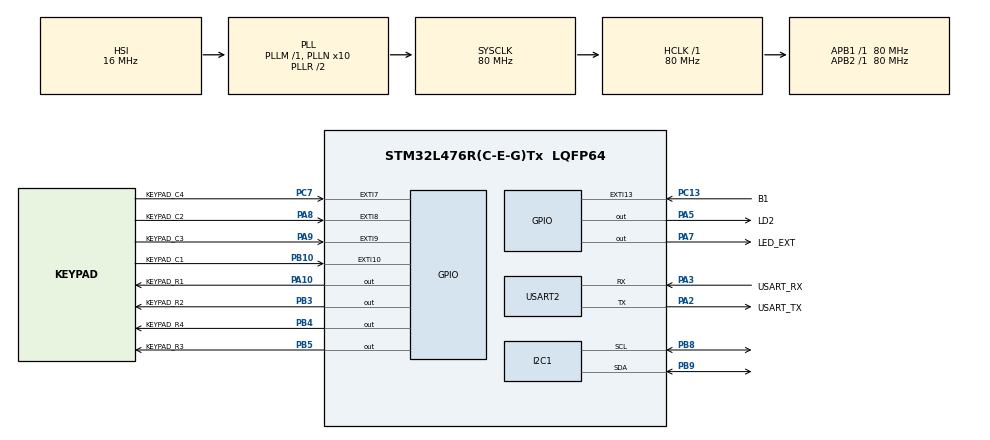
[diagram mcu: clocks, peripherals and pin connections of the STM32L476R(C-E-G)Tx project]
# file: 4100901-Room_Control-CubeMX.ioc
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I2C1.Timing=0x10D19CE4
Mcu.Family=STM32L4
Mcu.Name=STM32L476R(C-E-G)Tx
Mcu.Package=LQFP64
NVIC.EXTI15_10_IRQn=true\:0\:0\:false\:false\:true\:true\:true\:true
NVIC.EXTI9_5_IRQn=true\:0\:0\:false\:false\:true\:true\:true\:true
NVIC.PriorityGroup=NVIC_PRIORITYGROUP_4
NVIC.USART2_IRQn=true\:0\:0\:false\:false\:true\:true\:true\:true
PA10.GPIO_Label=KEYPAD_R1
PA10.Signal=GPIO_Output
PA13\ (JTMS-SWDIO).GPIO_Label=TMS
PA13\ (JTMS-SWDIO).Mode=Serial_Wire
PA13\ (JTMS-SWDIO).Signal=SYS_JTMS-SWDIO
PA14\ (JTCK-SWCLK).GPIO_Label=TCK
PA14\ (JTCK-SWCLK).Mode=Serial_Wire
PA14\ (JTCK-SWCLK).Signal=SYS_JTCK-SWCLK
PA2.GPIO_Label=USART_TX
PA2.GPIO_Mode=GPIO_MODE_AF_PP
PA2.GPIO_PuPd=GPIO_NOPULL
PA2.GPIO_Speed=GPIO_SPEED_FREQ_VERY_HIGH
PA2.Mode=Asynchronous
PA2.Signal=USART2_TX
PA3.GPIO_Label=USART_RX
PA3.GPIO_Mode=GPIO_MODE_AF_PP
PA3.GPIO_PuPd=GPIO_NOPULL
PA3.GPIO_Speed=GPIO_SPEED_FREQ_VERY_HIGH
PA3.Mode=Asynchronous
PA3.Signal=USART2_RX
PA5.GPIO_Label=LD2 
PA5.GPIO_ModeDefaultOutputPP=GPIO_MODE_OUTPUT_PP
PA5.GPIO_PuPd=GPIO_NOPULL
PA5.GPIO_Speed=GPIO_SPEED_FREQ_LOW
PA5.Signal=GPIO_Output
PA7.GPIO_Label=LED_EXT
PA7.Signal=GPIO_Output
PA8.GPIO_Label=KEYPAD_C2
PA8.GPIO_PuPd=GPIO_PULLUP
PA8.Signal=GPXTI8
PA9.GPIO_Label=KEYPAD_C3
PA9.GPIO_PuPd=GPIO_PULLUP
PA9.Signal=GPXTI9
PB10.GPIO_Label=KEYPAD_C1
PB10.GPIO_PuPd=GPIO_PULLUP
PB10.Signal=GPXTI10
PB3\ (JTDO-TRACESWO).GPIO_Label=KEYPAD_R2
PB3\ (JTDO-TRACESWO).Signal=GPIO_Output
PB4\ (NJTRST).GPIO_Label=KEYPAD_R4
PB4\ (NJTRST).Signal=GPIO_Output
PB5.GPIO_Label=KEYPAD_R3
PB5.Signal=GPIO_Output
PB8.Mode=I2C
PB8.Signal=I2C1_SCL
PB9.Mode=I2C
PB9.Signal=I2C1_SDA
PC13.GPIO_Label=B1
PC13.GPIO_ModeDefaultEXTI=GPIO_MODE_IT_FALLING
PC13.GPIO_PuPd=GPIO_NOPULL
PC13.Signal=GPXTI13
PC14-OSC32_IN\ (PC14).Mode=LSE-External-Oscillator
PC14-OSC32_IN\ (PC14).Signal=RCC_OSC32_IN
PC15-OSC32_OUT\ (PC15).Mode=LSE-External-Oscillator
PC15-OSC32_OUT\ (PC15).Signal=RCC_OSC32_OUT
PC7.GPIO_Label=KEYPAD_C4
PC7.GPIO_PuPd=GPIO_PULLUP
PC7.Signal=GPXTI7
PH0-OSC_IN\ (PH0).Signal=RCC_OSC_IN
PH1-OSC_OUT\ (PH1).Signal=RCC_OSC_OUT
ProjectManager.HeapSize=0x200
ProjectManager.StackSize=0x400
ProjectManager.TargetToolchain=CMake
RCC.ADCFreq_Value=64000000
RCC.AHBFreq_Value=80000000
RCC.APB1Freq_Value=80000000
RCC.APB1TimFreq_Value=80000000
RCC.APB2Freq_Value=80000000
RCC.APB2TimFreq_Value=80000000
RCC.CortexFreq_Value=80000000
RCC.HCLKFreq_Value=80000000
RCC.HSE_VALUE=8000000
RCC.HSI_VALUE=16000000
RCC.MSI_VALUE=4000000
RCC.PLLN=10
RCC.PLLSourceVirtual=RCC_PLLSOURCE_HSI
RCC.PREFETCH_ENABLE=1
RCC.SYSCLKFreq_VALUE=80000000
RCC.SYSCLKSource=RCC_SYSCLKSOURCE_PLLCLK
RCC.USBFreq_Value=64000000
RCC.VCOOutputFreq_Value=160000000
USART2.VirtualMode-Asynchronous=VM_ASYNC
board=NUCLEO-L476RG

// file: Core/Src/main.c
/* USER CODE BEGIN Header */
/**
  **********
  * @file           : main.c
  * @brief          : Main program body
  **********
  * @attention
  *
  * Copyright (c) 2025 STMicroelectronics.
  * All rights reserved.
  *
  * This software is licensed under terms that can be found in the LICENSE file
  * in the root directory of this software component.
  * If no LICENSE file comes with this software, it is provided AS-IS.
  *
  **********
  */
/* USER CODE END Header */
#include "main.h"

/* USER CODE BEGIN Includes */
#include "led_driver.h"
#include "ring_buffer.h"
#include "keypad_driver.h"
#include <stdio.h>
#include <string.h>
#include "ssd1306.h"
#include "ssd1306_fonts.h"
/* USER CODE END Includes */

/* USER CODE BEGIN PD */
// --- CONFIGURACION DEL SISTEMA ---
#define PASSWORD "123A" // Contraseña de 4 dígitos
#define PASSWORD_LEN 4
#define DEBOUNCE_TIME_MS 200      // Tiempo de anti-rebote para las teclas
#define FEEDBACK_LED_TIME_MS 100  // Tiempo que el LED se enciende al oprimir cualquier tecla
#define SUCCESS_LED_TIME_MS 5000  // Tiempo que el LED se enciende cuando se ingresa la contraseña correcta
/* USER CODE END PD */

I2C_HandleTypeDef hi2c1;

UART_HandleTypeDef huart2;

/* USER CODE BEGIN PV */
// --- HANDLES Y BUFFERS ---
/**
 * @brief LED principal (LD2 en la Nucleo) ---
 * @note  Esta estructura se utiliza para controlar el LED integrado en la placa.
 * @param led1 Estructura que define el puerto y pin del LED.
 */

led_handle_t led1 = { .port = GPIOA, .pin = GPIO_PIN_5 }; // LD2
led_handle_t led_ext = { .port = GPIOA, .pin = GPIO_PIN_7 }; // LED externo en PA7

/**
 * @brief Keypad handle ---
 * @note  Esta estructura define los puertos y pines utilizados para el teclado matricial.
*/
keypad_handle_t keypad = {
    .row_ports = {KEYPAD_R1_GPIO_Port, KEYPAD_R2_GPIO_Port, KEYPAD_R3_GPIO_Port, KEYPAD_R4_GPIO_Port},
    .row_pins  = {KEYPAD_R1_Pin, KEYPAD_R2_Pin, KEYPAD_R3_Pin, KEYPAD_R4_Pin},
    .col_ports = {KEYPAD_C1_GPIO_Port, KEYPAD_C2_GPIO_Port, KEYPAD_C3_GPIO_Port, KEYPAD_C4_GPIO_Port},
    .col_pins  = {KEYPAD_C1_Pin, KEYPAD_C2_Pin, KEYPAD_C3_Pin, KEYPAD_C4_Pin}
};
// --- Buffer circular para teclas ---
/**
* @brief Buffer circular para almacenar las teclas presionadas ---
 * @note  Este buffer almacena las teclas leídas del teclado para su procesamiento posterior.
 */
#define KEYPAD_BUFFER_LEN 16
uint8_t keypad_buffer[KEYPAD_BUFFER_LEN];
ring_buffer_t keypad_rb;

// --- VARIABLES DE CONTROL DE ACCESO ---
/**
*@brief Variables para manejar la contraseña ingresada ---
 * @note  Estas variables almacenan la contraseña ingresada por el usuario y su índice actual.
 */
char entered_password[PASSWORD_LEN + 1] = {0};
uint8_t password_index = 0;

// --- VARIABLES DE ESTADO PARA LOGICA NO BLOQUEANTE ---
/**
*@brief Variables para manejar tiempos y estados ---
 * @note  Estas variables ayudan a gestionar el tiempo de anti-rebote y el temporizador del LED sin bloquear el programa.
 */
uint32_t last_key_press_time = 0;
uint32_t led_timer_start = 0;
uint32_t led_on_duration = 0;
/* USER CODE END PV */

void SystemClock_Config(void);
static void MX_GPIO_Init(void);
static void MX_USART2_UART_Init(void);
static void MX_I2C1_Init(void);
/* USER CODE BEGIN PFP */
/**
*@brief Prototipos de funciones privadas ---
  @note  Declaraciones de funciones utilizadas en este archivo.
  */
void manage_led_timer(void);
void process_key(uint8_t key);
/* USER CODE END PFP */

/* USER CODE BEGIN 0 */
/**
  * @brief  Callback de la interrupción externa GPIO.
  * @note   Esta función se llama cuando se detecta un flanco en un pin configurado para interrupción.
  *         Se mantiene muy rápida: solo lee el teclado y guarda la tecla en un buffer.
  */
void HAL_GPIO_EXTI_Callback(uint16_t GPIO_Pin)
{
    char key = keypad_scan(&keypad, GPIO_Pin);
    if (key != '\0') {
        ring_buffer_write(&keypad_rb, (uint8_t)key);
    }
}

/**
 * @brief Procesa una tecla recibida del buffer del keypad.
 * @note  Contiene la lógica principal de la aplicación: feedback visual,
 *        almacenamiento de la contraseña y verificación.
 * @param key La tecla presionada a procesar.
 */
void process_key(uint8_t key)
{
    // 1. Proporcionar feedback visual inmediato al usuario
    // Encender LED brevemente como feedback
    led_on(&led1);
    led_timer_start = HAL_GetTick();
    led_on_duration = FEEDBACK_LED_TIME_MS;

    // 2. Almacenar el dígito si la contraseña no está completa
   // Guardar el dígito ingresado
    if (password_index < PASSWORD_LEN) {
        entered_password[password_index++] = (char)key;
        printf("Digito presionado: %c\r\n", key);
    }

    // 3. Si la contraseña se ha completado, verificarla
    // Si ya se ingresaron 4 dígitos, verificar contraseña
    if (password_index == PASSWORD_LEN) {
        if (strncmp(entered_password, PASSWORD, PASSWORD_LEN) == 0) {
            printf("Contraseña correcta. ACCESO AUTORIZADO.\r\n");
            // Encender los LEDs para indicar éxito
            led_on(&led1);
            led_on(&led_ext);
            led_timer_start = HAL_GetTick();
            led_on_duration = SUCCESS_LED_TIME_MS;
        } else {
            printf("Contraseña incorrecta. ACCESO DENEGADO.\r\n");
           // Apagar el LED para indicar fallo
            led_off(&led1);
            led_off(&led_ext);
        }

        // 4. Reiniciar para el siguiente intento
        password_index = 0;
        memset(entered_password, 0, sizeof(entered_password));
        printf("\nSistema de acceso listo. Ingrese la contraseña de 4 digitos.\r\n");
    }
}

/**
 * @brief Gestiona el apagado automático de los LEDs sin bloquear el programa.
 * @note  Esta función debe ser llamada repetidamente en el bucle principal.
 */
void manage_led_timer(void)

{
  // Apaga los LEDs automáticamente cuando el tiempo indicado termina.
    if (led_timer_start != 0 && (HAL_GetTick() - led_timer_start > led_on_duration)) {
      //// Cuando se acaba el tiempo de éxito, apagar ambos LEDs
        led_off(&led1);
        led_off(&led_ext);
        led_timer_start = 0;
    }
}

/* USER CODE END 0 */

int main(void)
{

  /* MCU Configuration--------------------------------------------------------*/

  /* Reset of all peripherals, Initializes the Flash interface and the Systick. */
  HAL_Init();

  /* Configure the system clock */
  SystemClock_Config();

  /* Initialize all configured peripherals */
  MX_GPIO_Init();
  MX_USART2_UART_Init();
  MX_I2C1_Init();
  /* USER CODE BEGIN 2 */
  // Inicialización de los drivers personalizados
  /**
  * @brief Inicializa los drivers personalizados para LEDs y keypad.
  */
  led_init(&led1);
  led_init(&led_ext);
  /**
  * @brief Inicializa el buffer circular para el keypad.
  */
  ring_buffer_init(&keypad_rb, keypad_buffer, KEYPAD_BUFFER_LEN);
  /**
  * @brief Inicializa el keypad.
  */
  keypad_init(&keypad); //inicializa las filas en bajo

  printf("Sistema de Control de Acceso Iniciado.\r\n");
  printf("Ingrese la contraseña de 4 digitos.\r\n");
  /* USER CODE END 2 */
    ssd1306_Init();
    ssd1306_Fill(Black);
    ssd1306_SetCursor(0, 0);
    ssd1306_WriteString("Hello Majo!", Font_11x18, White);
    ssd1306_UpdateScreen();
  /* Infinite loop */
  /* USER CODE BEGIN WHILE */
  while (1)
  {
    uint8_t key_from_buffer;
  /**
    1. Leer teclas del buffer circular.
    2. Procesar la tecla si ha pasado el tiempo de anti-rebote.
    3. Gestionar el temporizador del LED en cada iteración del bucle.
       Esto permite que el LED se apague solo sin detener el programa.
  */

    // 1. Leer teclas del buffer circular
  // Leer teclas del buffer circular
    if (ring_buffer_read(&keypad_rb, &key_from_buffer)) {
        uint32_t now = HAL_GetTick();
        // Anti-rebote: procesar solo si ha pasado el tiempo definido
        if (now - last_key_press_time > DEBOUNCE_TIME_MS) {
            last_key_press_time = now;
            process_key(key_from_buffer);
        }
    }

    // 3. Gestionar el temporizador del LED en cada iteración del bucle.
    //    Esto permite que el LED se apague solo sin detener el programa.
    // Manejo del temporizador del LED (no bloqueante)
    /**
     * @brief Gestiona el apagado automático de los LEDs sin bloquear el programa.
      * @note  Esta función debe ser llamada repetidamente en el bucle principal.
      */
    manage_led_timer();

    /* USER CODE END WHILE */

  }
}

void SystemClock_Config(void)
{
  RCC_OscInitTypeDef RCC_OscInitStruct = {0};
  RCC_ClkInitTypeDef RCC_ClkInitStruct = {0};

  /** Configure the main internal regulator output voltage
  */
  if (HAL_PWREx_ControlVoltageScaling(PWR_REGULATOR_VOLTAGE_SCALE1) != HAL_OK)
  {
    Error_Handler();
  }

  /** Initializes the RCC Oscillators according to the specified parameters
  * in the RCC_OscInitTypeDef structure.
  */
  RCC_OscInitStruct.OscillatorType = RCC_OSCILLATORTYPE_HSI;
  RCC_OscInitStruct.HSIState = RCC_HSI_ON;
  RCC_OscInitStruct.HSICalibrationValue = RCC_HSICALIBRATION_DEFAULT;
  RCC_OscInitStruct.PLL.PLLState = RCC_PLL_ON;
  RCC_OscInitStruct.PLL.PLLSource = RCC_PLLSOURCE_HSI;
  RCC_OscInitStruct.PLL.PLLM = 1;
  RCC_OscInitStruct.PLL.PLLN = 10;
  RCC_OscInitStruct.PLL.PLLP = RCC_PLLP_DIV7;
  RCC_OscInitStruct.PLL.PLLQ = RCC_PLLQ_DIV2;
  RCC_OscInitStruct.PLL.PLLR = RCC_PLLR_DIV2;
  if (HAL_RCC_OscConfig(&RCC_OscInitStruct) != HAL_OK)
  {
    Error_Handler();
  }

  /** Initializes the CPU, AHB and APB buses clocks
  */
  RCC_ClkInitStruct.ClockType = RCC_CLOCKTYPE_HCLK|RCC_CLOCKTYPE_SYSCLK
                              |RCC_CLOCKTYPE_PCLK1|RCC_CLOCKTYPE_PCLK2;
  RCC_ClkInitStruct.SYSCLKSource = RCC_SYSCLKSOURCE_PLLCLK;
  RCC_ClkInitStruct.AHBCLKDivider = RCC_SYSCLK_DIV1;
  RCC_ClkInitStruct.APB1CLKDivider = RCC_HCLK_DIV1;
  RCC_ClkInitStruct.APB2CLKDivider = RCC_HCLK_DIV1;

  if (HAL_RCC_ClockConfig(&RCC_ClkInitStruct, FLASH_LATENCY_4) != HAL_OK)
  {
    Error_Handler();
  }
}

static void MX_I2C1_Init(void)
{

  hi2c1.Instance = I2C1;
  hi2c1.Init.Timing = 0x10D19CE4;
  hi2c1.Init.OwnAddress1 = 0;
  hi2c1.Init.AddressingMode = I2C_ADDRESSINGMODE_7BIT;
  hi2c1.Init.DualAddressMode = I2C_DUALADDRESS_DISABLE;
  hi2c1.Init.OwnAddress2 = 0;
  hi2c1.Init.OwnAddress2Masks = I2C_OA2_NOMASK;
  hi2c1.Init.GeneralCallMode = I2C_GENERALCALL_DISABLE;
  hi2c1.Init.NoStretchMode = I2C_NOSTRETCH_DISABLE;
  if (HAL_I2C_Init(&hi2c1) != HAL_OK)
  {
    Error_Handler();
  }

  /** Configure Analogue filter
  */
  if (HAL_I2CEx_ConfigAnalogFilter(&hi2c1, I2C_ANALOGFILTER_ENABLE) != HAL_OK)
  {
    Error_Handler();
  }

  /** Configure Digital filter
  */
  if (HAL_I2CEx_ConfigDigitalFilter(&hi2c1, 0) != HAL_OK)
  {
    Error_Handler();
  }

}

static void MX_USART2_UART_Init(void)
{

  huart2.Instance = USART2;
  huart2.Init.BaudRate = 115200;
  huart2.Init.WordLength = UART_WORDLENGTH_8B;
  huart2.Init.StopBits = UART_STOPBITS_1;
  huart2.Init.Parity = UART_PARITY_NONE;
  huart2.Init.Mode = UART_MODE_TX_RX;
  huart2.Init.HwFlowCtl = UART_HWCONTROL_NONE;
  huart2.Init.OverSampling = UART_OVERSAMPLING_16;
  huart2.Init.OneBitSampling = UART_ONE_BIT_SAMPLE_DISABLE;
  huart2.AdvancedInit.AdvFeatureInit = UART_ADVFEATURE_NO_INIT;
  if (HAL_UART_Init(&huart2) != HAL_OK)
  {
    Error_Handler();
  }
  /* USER CODE BEGIN USART2_Init 2 */
  #ifdef GNUC
    setvbuf(stdout, NULL, _IONBF, 0);
  #endif
  /* USER CODE END USART2_Init 2 */

}

static void MX_GPIO_Init(void)
{
  GPIO_InitTypeDef GPIO_InitStruct = {0};

  /* GPIO Ports Clock Enable */
  __HAL_RCC_GPIOC_CLK_ENABLE();
  __HAL_RCC_GPIOH_CLK_ENABLE();
  __HAL_RCC_GPIOA_CLK_ENABLE();
  __HAL_RCC_GPIOB_CLK_ENABLE();

  /*Configure GPIO pin Output Level */
  HAL_GPIO_WritePin(GPIOA, LD2_Pin|LED_EXT_Pin|KEYPAD_R1_Pin, GPIO_PIN_RESET);

  /*Configure GPIO pin Output Level */
  HAL_GPIO_WritePin(GPIOB, KEYPAD_R2_Pin|KEYPAD_R4_Pin|KEYPAD_R3_Pin, GPIO_PIN_RESET);

  /*Configure GPIO pin : B1_Pin */
  GPIO_InitStruct.Pin = B1_Pin;
  GPIO_InitStruct.Mode = GPIO_MODE_IT_FALLING;
  GPIO_InitStruct.Pull = GPIO_NOPULL;
  HAL_GPIO_Init(B1_GPIO_Port, &GPIO_InitStruct);

  /*Configure GPIO pins : LD2_Pin LED_EXT_Pin KEYPAD_R1_Pin */
  GPIO_InitStruct.Pin = LD2_Pin|LED_EXT_Pin|KEYPAD_R1_Pin;
  GPIO_InitStruct.Mode = GPIO_MODE_OUTPUT_PP;
  GPIO_InitStruct.Pull = GPIO_NOPULL;
  GPIO_InitStruct.Speed = GPIO_SPEED_FREQ_LOW;
  HAL_GPIO_Init(GPIOA, &GPIO_InitStruct);

  /*Configure GPIO pin : KEYPAD_C1_Pin */
  GPIO_InitStruct.Pin = KEYPAD_C1_Pin;
  GPIO_InitStruct.Mode = GPIO_MODE_IT_RISING;
  GPIO_InitStruct.Pull = GPIO_PULLUP;
  HAL_GPIO_Init(KEYPAD_C1_GPIO_Port, &GPIO_InitStruct);

  /*Configure GPIO pin : KEYPAD_C4_Pin */
  GPIO_InitStruct.Pin = KEYPAD_C4_Pin;
  GPIO_InitStruct.Mode = GPIO_MODE_IT_RISING;
  GPIO_InitStruct.Pull = GPIO_PULLUP;
  HAL_GPIO_Init(KEYPAD_C4_GPIO_Port, &GPIO_InitStruct);

  /*Configure GPIO pins : KEYPAD_C2_Pin KEYPAD_C3_Pin */
  GPIO_InitStruct.Pin = KEYPAD_C2_Pin|KEYPAD_C3_Pin;
  GPIO_InitStruct.Mode = GPIO_MODE_IT_RISING;
  GPIO_InitStruct.Pull = GPIO_PULLUP;
  HAL_GPIO_Init(GPIOA, &GPIO_InitStruct);

  /*Configure GPIO pins : KEYPAD_R2_Pin KEYPAD_R4_Pin KEYPAD_R3_Pin */
  GPIO_InitStruct.Pin = KEYPAD_R2_Pin|KEYPAD_R4_Pin|KEYPAD_R3_Pin;
  GPIO_InitStruct.Mode = GPIO_MODE_OUTPUT_PP;
  GPIO_InitStruct.Pull = GPIO_NOPULL;
  GPIO_InitStruct.Speed = GPIO_SPEED_FREQ_LOW;
  HAL_GPIO_Init(GPIOB, &GPIO_InitStruct);

  /* EXTI interrupt init*/
  HAL_NVIC_SetPriority(EXTI9_5_IRQn, 0, 0);
  HAL_NVIC_EnableIRQ(EXTI9_5_IRQn);

  HAL_NVIC_SetPriority(EXTI15_10_IRQn, 0, 0);
  HAL_NVIC_EnableIRQ(EXTI15_10_IRQn);

}

/* USER CODE BEGIN 4 */
// Sobrescribir la función _write para redirigir printf a la UART
/**
*@brief Redirige la salida de printf a través de UART.
 @param file Descriptor de archivo (no usado).
 @param ptr Puntero a los datos a enviar.
 @param len Longitud de los datos.
 @return Número de bytes enviados.
 @note Esto permite usar printf para depuración vía UART.
 */
int _write(int file, char *ptr, int len)
{
    HAL_UART_Transmit(&huart2, (uint8_t*)ptr, len, HAL_MAX_DELAY);
    return len;
}
/* USER CODE END 4 */

void Error_Handler(void)
{
  __disable_irq();
  while (1)
  {
  }
}
